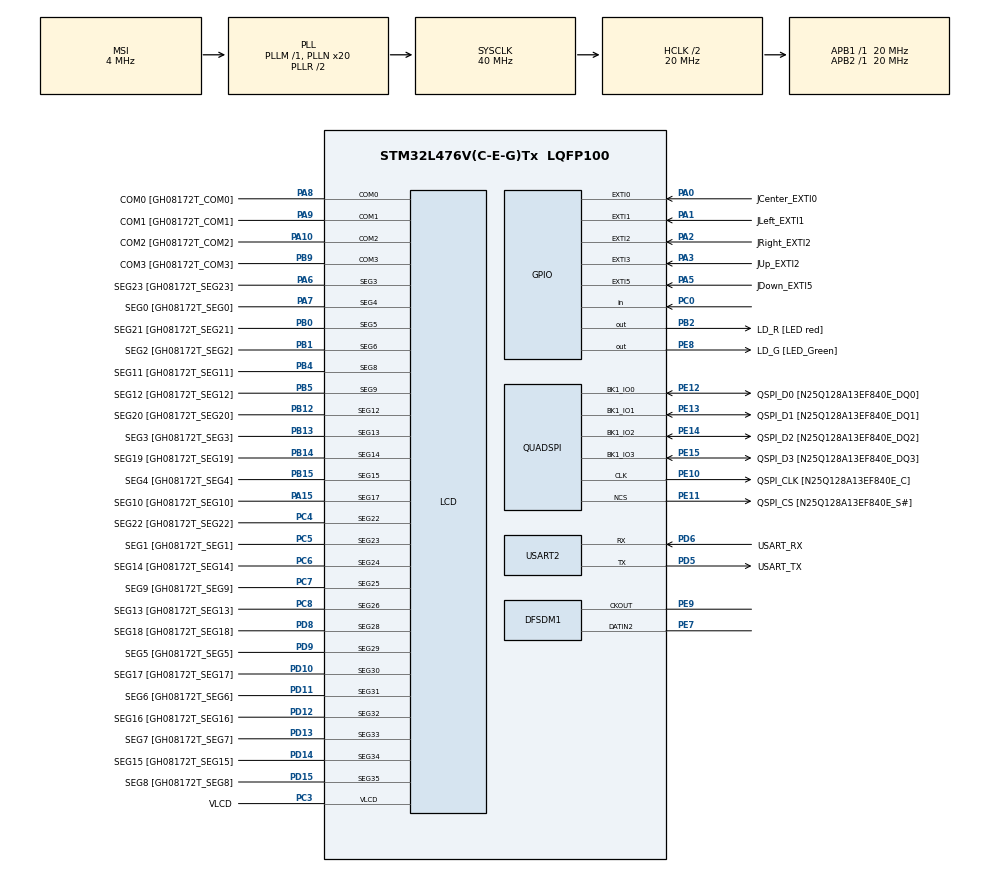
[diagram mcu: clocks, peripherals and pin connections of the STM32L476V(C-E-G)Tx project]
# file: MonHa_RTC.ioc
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DFSDM1.Divider=4
DFSDM1.DmaMode_reg_FIL0=ENABLE
DFSDM1.FastMode_reg_FIL0=ENABLE
DFSDM1.Filter_injChannel2_FIL0=DFSDM_CHANNEL_2
DFSDM1.Filter_regChannel_FIL0=DFSDM_CHANNEL_2
DFSDM1.Filter_regContinuousMode_FIL0=DFSDM_CONTINUOUS_CONV_ON
DFSDM1.Fosr_FIL0=64
DFSDM1.Oversampling_CH2=10
DFSDM1.RightBitShift_CH2=0x02
DFSDM1.ScanMode_inj_FIL0=ENABLE
DFSDM1.SincOrder_FIL0=DFSDM_FILTER_SINC3_ORDER
Dma.DFSDM1_FLT0.2.Direction=DMA_PERIPH_TO_MEMORY
Dma.DFSDM1_FLT0.2.Instance=DMA1_Channel4
Dma.DFSDM1_FLT0.2.MemDataAlignment=DMA_MDATAALIGN_WORD
Dma.DFSDM1_FLT0.2.MemInc=DMA_MINC_ENABLE
Dma.DFSDM1_FLT0.2.Mode=DMA_CIRCULAR
Dma.DFSDM1_FLT0.2.PeriphDataAlignment=DMA_PDATAALIGN_WORD
Dma.DFSDM1_FLT0.2.PeriphInc=DMA_PINC_DISABLE
Dma.DFSDM1_FLT0.2.Priority=DMA_PRIORITY_HIGH
Dma.Request0=USART2_RX
Dma.Request1=USART2_TX
Dma.Request2=DFSDM1_FLT0
Dma.USART2_RX.0.Direction=DMA_PERIPH_TO_MEMORY
Dma.USART2_RX.0.Instance=DMA1_Channel6
Dma.USART2_RX.0.MemDataAlignment=DMA_MDATAALIGN_BYTE
Dma.USART2_RX.0.MemInc=DMA_MINC_ENABLE
Dma.USART2_RX.0.Mode=DMA_NORMAL
Dma.USART2_RX.0.PeriphDataAlignment=DMA_PDATAALIGN_BYTE
Dma.USART2_RX.0.PeriphInc=DMA_PINC_DISABLE
Dma.USART2_RX.0.Priority=DMA_PRIORITY_LOW
Dma.USART2_TX.1.Direction=DMA_MEMORY_TO_PERIPH
Dma.USART2_TX.1.Instance=DMA1_Channel7
Dma.USART2_TX.1.MemDataAlignment=DMA_MDATAALIGN_BYTE
Dma.USART2_TX.1.MemInc=DMA_MINC_ENABLE
Dma.USART2_TX.1.Mode=DMA_NORMAL
Dma.USART2_TX.1.PeriphDataAlignment=DMA_PDATAALIGN_BYTE
Dma.USART2_TX.1.PeriphInc=DMA_PINC_DISABLE
Dma.USART2_TX.1.Priority=DMA_PRIORITY_LOW
Mcu.Family=STM32L4
Mcu.Name=STM32L476V(C-E-G)Tx
Mcu.Package=LQFP100
Mcu.UserConstants=PRESC,9999;PERIOD,1999
NVIC.DFSDM1_FLT0_IRQn=true\:0\:0\:false\:false\:true\:true\:true
NVIC.DMA1_Channel4_IRQn=true\:0\:0\:false\:false\:true\:false\:true
NVIC.DMA1_Channel6_IRQn=true\:0\:0\:false\:false\:true\:false\:true
NVIC.DMA1_Channel7_IRQn=true\:0\:0\:false\:false\:true\:false\:true
NVIC.EXTI0_IRQn=true\:0\:0\:false\:false\:true\:true\:true
NVIC.EXTI1_IRQn=true\:0\:0\:false\:false\:true\:true\:true
NVIC.EXTI2_IRQn=true\:0\:0\:false\:false\:true\:true\:true
NVIC.EXTI3_IRQn=true\:0\:0\:false\:false\:true\:true\:true
NVIC.EXTI9_5_IRQn=true\:0\:0\:false\:false\:true\:true\:true
NVIC.PriorityGroup=NVIC_PRIORITYGROUP_4
NVIC.TIM6_DAC_IRQn=true\:0\:0\:false\:false\:true\:true\:true
PA0.GPIO_Label=JCenter_EXTI0
PA0.GPIO_PuPd=GPIO_PULLDOWN
PA0.Signal=GPXTI0
PA1.GPIO_Label=JLeft_EXTI1
PA1.GPIO_PuPd=GPIO_PULLDOWN
PA1.Signal=GPXTI1
PA10.GPIO_Label=COM2 [GH08172T_COM2]
PA10.GPIO_Mode=GPIO_MODE_AF_PP
PA10.GPIO_PuPd=GPIO_NOPULL
PA10.GPIO_Speed=GPIO_SPEED_FREQ_LOW
PA10.Mode=1/4 Duty Cycle
PA10.Signal=LCD_COM2
PA15\ (JTDI).GPIO_Label=SEG10 [GH08172T_SEG10]
PA15\ (JTDI).GPIO_Mode=GPIO_MODE_AF_PP
PA15\ (JTDI).GPIO_PuPd=GPIO_NOPULL
PA15\ (JTDI).GPIO_Speed=GPIO_SPEED_FREQ_LOW
PA15\ (JTDI).Mode=SEG17
PA15\ (JTDI).Signal=LCD_SEG17
PA2.GPIO_Label=JRight_EXTI2
PA2.GPIO_PuPd=GPIO_PULLDOWN
PA2.Signal=GPXTI2
PA3.GPIO_Label=JUp_EXTI2
PA3.GPIO_PuPd=GPIO_PULLDOWN
PA3.Signal=GPXTI3
PA5.GPIO_Label=JDown_EXTI5
PA5.GPIO_PuPd=GPIO_PULLDOWN
PA5.Signal=GPXTI5
PA6.GPIO_Label=SEG23 [GH08172T_SEG23]
PA6.GPIO_Mode=GPIO_MODE_AF_PP
PA6.GPIO_PuPd=GPIO_NOPULL
PA6.GPIO_Speed=GPIO_SPEED_FREQ_LOW
PA6.Mode=SEG3
PA6.Signal=LCD_SEG3
PA7.GPIO_Label=SEG0 [GH08172T_SEG0]
PA7.GPIO_Mode=GPIO_MODE_AF_PP
PA7.GPIO_PuPd=GPIO_NOPULL
PA7.GPIO_Speed=GPIO_SPEED_FREQ_LOW
PA7.Mode=SEG4
PA7.Signal=LCD_SEG4
PA8.GPIO_Label=COM0 [GH08172T_COM0]
PA8.GPIO_Mode=GPIO_MODE_AF_PP
PA8.GPIO_PuPd=GPIO_NOPULL
PA8.GPIO_Speed=GPIO_SPEED_FREQ_LOW
PA8.Mode=1/4 Duty Cycle
PA8.Signal=LCD_COM0
PA9.GPIO_Label=COM1 [GH08172T_COM1]
PA9.GPIO_Mode=GPIO_MODE_AF_PP
PA9.GPIO_PuPd=GPIO_NOPULL
PA9.GPIO_Speed=GPIO_SPEED_FREQ_LOW
PA9.Mode=1/4 Duty Cycle
PA9.Signal=LCD_COM1
PB0.GPIO_Label=SEG21 [GH08172T_SEG21]
PB0.GPIO_Mode=GPIO_MODE_AF_PP
PB0.GPIO_PuPd=GPIO_NOPULL
PB0.GPIO_Speed=GPIO_SPEED_FREQ_LOW
PB0.Mode=SEG5
PB0.Signal=LCD_SEG5
PB1.GPIO_Label=SEG2 [GH08172T_SEG2]
PB1.GPIO_Mode=GPIO_MODE_AF_PP
PB1.GPIO_PuPd=GPIO_NOPULL
PB1.GPIO_Speed=GPIO_SPEED_FREQ_LOW
PB1.Mode=SEG6
PB1.Signal=LCD_SEG6
PB12.GPIO_Label=SEG20 [GH08172T_SEG20]
PB12.GPIO_Mode=GPIO_MODE_AF_PP
PB12.GPIO_PuPd=GPIO_NOPULL
PB12.GPIO_Speed=GPIO_SPEED_FREQ_LOW
PB12.Mode=SEG12
PB12.Signal=LCD_SEG12
PB13.GPIO_Label=SEG3 [GH08172T_SEG3]
PB13.GPIO_Mode=GPIO_MODE_AF_PP
PB13.GPIO_PuPd=GPIO_NOPULL
PB13.GPIO_Speed=GPIO_SPEED_FREQ_LOW
PB13.Mode=SEG13
PB13.Signal=LCD_SEG13
PB14.GPIO_Label=SEG19 [GH08172T_SEG19]
PB14.GPIO_Mode=GPIO_MODE_AF_PP
PB14.GPIO_PuPd=GPIO_NOPULL
PB14.GPIO_Speed=GPIO_SPEED_FREQ_LOW
PB14.Mode=SEG14
PB14.Signal=LCD_SEG14
PB15.GPIO_Label=SEG4 [GH08172T_SEG4]
PB15.GPIO_Mode=GPIO_MODE_AF_PP
PB15.GPIO_PuPd=GPIO_NOPULL
PB15.GPIO_Speed=GPIO_SPEED_FREQ_LOW
PB15.Mode=SEG15
PB15.Signal=LCD_SEG15
PB2.GPIO_Label=LD_R [LED red]
PB2.GPIO_ModeDefaultOutputPP=GPIO_MODE_OUTPUT_PP
PB2.GPIO_PuPd=GPIO_PULLUP
PB2.GPIO_Speed=GPIO_SPEED_FREQ_VERY_HIGH
PB2.Signal=GPIO_Output
PB4\ (NJTRST).GPIO_Label=SEG11 [GH08172T_SEG11]
PB4\ (NJTRST).GPIO_Mode=GPIO_MODE_AF_PP
PB4\ (NJTRST).GPIO_PuPd=GPIO_NOPULL
PB4\ (NJTRST).GPIO_Speed=GPIO_SPEED_FREQ_LOW
PB4\ (NJTRST).Mode=SEG8
PB4\ (NJTRST).Signal=LCD_SEG8
PB5.GPIO_Label=SEG12 [GH08172T_SEG12]
PB5.GPIO_Mode=GPIO_MODE_AF_PP
PB5.GPIO_PuPd=GPIO_NOPULL
PB5.GPIO_Speed=GPIO_SPEED_FREQ_LOW
PB5.Mode=SEG9
PB5.Signal=LCD_SEG9
PB9.GPIO_FM9=__NULL
PB9.GPIO_Label=COM3 [GH08172T_COM3]
PB9.GPIO_Mode=GPIO_MODE_AF_PP
PB9.GPIO_PuPd=GPIO_NOPULL
PB9.GPIO_Speed=GPIO_SPEED_FREQ_LOW
PB9.Mode=1/4 Duty Cycle
PB9.Signal=LCD_COM3
PC0.Signal=GPIO_Input
PC3.GPIO_Label=VLCD
PC3.GPIO_Mode=GPIO_MODE_AF_PP
PC3.GPIO_PuPd=GPIO_NOPULL
PC3.GPIO_Speed=GPIO_SPEED_FREQ_LOW
PC3.Mode=1/4 Duty Cycle
PC3.Signal=LCD_VLCD
PC4.GPIO_Label=SEG22 [GH08172T_SEG22]
PC4.GPIO_Mode=GPIO_MODE_AF_PP
PC4.GPIO_PuPd=GPIO_NOPULL
PC4.GPIO_Speed=GPIO_SPEED_FREQ_LOW
PC4.Mode=SEG22
PC4.Signal=LCD_SEG22
PC5.GPIO_Label=SEG1 [GH08172T_SEG1]
PC5.GPIO_Mode=GPIO_MODE_AF_PP
PC5.GPIO_PuPd=GPIO_NOPULL
PC5.GPIO_Speed=GPIO_SPEED_FREQ_LOW
PC5.Mode=SEG23
PC5.Signal=LCD_SEG23
PC6.GPIO_Label=SEG14 [GH08172T_SEG14]
PC6.GPIO_Mode=GPIO_MODE_AF_PP
PC6.GPIO_PuPd=GPIO_NOPULL
PC6.GPIO_Speed=GPIO_SPEED_FREQ_LOW
PC6.Mode=SEG24
PC6.Signal=LCD_SEG24
PC7.GPIO_Label=SEG9 [GH08172T_SEG9]
PC7.GPIO_Mode=GPIO_MODE_AF_PP
PC7.GPIO_PuPd=GPIO_NOPULL
PC7.GPIO_Speed=GPIO_SPEED_FREQ_LOW
PC7.Mode=SEG25
PC7.Signal=LCD_SEG25
PC8.GPIO_Label=SEG13 [GH08172T_SEG13]
PC8.GPIO_Mode=GPIO_MODE_AF_PP
PC8.GPIO_PuPd=GPIO_NOPULL
PC8.GPIO_Speed=GPIO_SPEED_FREQ_LOW
PC8.Mode=SEG26
PC8.Signal=LCD_SEG26
PD10.GPIO_Label=SEG17 [GH08172T_SEG17]
PD10.GPIO_Mode=GPIO_MODE_AF_PP
PD10.GPIO_PuPd=GPIO_NOPULL
PD10.GPIO_Speed=GPIO_SPEED_FREQ_LOW
PD10.Mode=SEG30
PD10.Signal=LCD_SEG30
PD11.GPIO_Label=SEG6 [GH08172T_SEG6]
PD11.GPIO_Mode=GPIO_MODE_AF_PP
PD11.GPIO_PuPd=GPIO_NOPULL
PD11.GPIO_Speed=GPIO_SPEED_FREQ_LOW
PD11.Mode=SEG31
PD11.Signal=LCD_SEG31
PD12.GPIO_Label=SEG16 [GH08172T_SEG16]
PD12.GPIO_Mode=GPIO_MODE_AF_PP
PD12.GPIO_PuPd=GPIO_NOPULL
PD12.GPIO_Speed=GPIO_SPEED_FREQ_LOW
PD12.Mode=SEG32
PD12.Signal=LCD_SEG32
PD13.GPIO_Label=SEG7 [GH08172T_SEG7]
PD13.GPIO_Mode=GPIO_MODE_AF_PP
PD13.GPIO_PuPd=GPIO_NOPULL
PD13.GPIO_Speed=GPIO_SPEED_FREQ_LOW
PD13.Mode=SEG33
PD13.Signal=LCD_SEG33
PD14.GPIO_Label=SEG15 [GH08172T_SEG15]
PD14.GPIO_Mode=GPIO_MODE_AF_PP
PD14.GPIO_PuPd=GPIO_NOPULL
PD14.GPIO_Speed=GPIO_SPEED_FREQ_LOW
PD14.Mode=SEG34
PD14.Signal=LCD_SEG34
PD15.GPIO_Label=SEG8 [GH08172T_SEG8]
PD15.GPIO_Mode=GPIO_MODE_AF_PP
PD15.GPIO_PuPd=GPIO_NOPULL
PD15.GPIO_Speed=GPIO_SPEED_FREQ_LOW
PD15.Mode=SEG35
PD15.Signal=LCD_SEG35
PD5.GPIO_Label=USART_TX
PD5.GPIO_Mode=GPIO_MODE_AF_PP
PD5.GPIO_PuPd=GPIO_PULLUP
PD5.GPIO_Speed=GPIO_SPEED_FREQ_VERY_HIGH
PD5.Mode=Asynchronous
PD5.Signal=USART2_TX
PD6.GPIO_Label=USART_RX
PD6.GPIO_Mode=GPIO_MODE_AF_PP
PD6.GPIO_PuPd=GPIO_PULLUP
PD6.GPIO_Speed=GPIO_SPEED_FREQ_VERY_HIGH
PD6.Mode=Asynchronous
PD6.Signal=USART2_RX
PD8.GPIO_Label=SEG18 [GH08172T_SEG18]
PD8.GPIO_Mode=GPIO_MODE_AF_PP
PD8.GPIO_PuPd=GPIO_NOPULL
PD8.GPIO_Speed=GPIO_SPEED_FREQ_LOW
PD8.Mode=SEG28
PD8.Signal=LCD_SEG28
PD9.GPIO_Label=SEG5 [GH08172T_SEG5]
PD9.GPIO_Mode=GPIO_MODE_AF_PP
PD9.GPIO_PuPd=GPIO_NOPULL
PD9.GPIO_Speed=GPIO_SPEED_FREQ_LOW
PD9.Mode=SEG29
PD9.Signal=LCD_SEG29
PE10.GPIO_Label=QSPI_CLK [N25Q128A13EF840E_C]
PE10.GPIO_Mode=GPIO_MODE_AF_PP
PE10.GPIO_PuPd=GPIO_NOPULL
PE10.GPIO_Speed=GPIO_SPEED_FREQ_VERY_HIGH
PE10.Mode=Single Bank
PE10.Signal=QUADSPI_CLK
PE11.GPIO_Label=QSPI_CS [N25Q128A13EF840E_S\#]
PE11.GPIO_Mode=GPIO_MODE_AF_PP
PE11.GPIO_PuPd=GPIO_NOPULL
PE11.GPIO_Speed=GPIO_SPEED_FREQ_VERY_HIGH
PE11.Mode=Single Bank
PE11.Signal=QUADSPI_NCS
PE12.GPIO_Label=QSPI_D0 [N25Q128A13EF840E_DQ0]
PE12.GPIO_Mode=GPIO_MODE_AF_PP
PE12.GPIO_PuPd=GPIO_NOPULL
PE12.GPIO_Speed=GPIO_SPEED_FREQ_VERY_HIGH
PE12.Mode=Single Bank
PE12.Signal=QUADSPI_BK1_IO0
PE13.GPIO_Label=QSPI_D1 [N25Q128A13EF840E_DQ1]
PE13.GPIO_Mode=GPIO_MODE_AF_PP
PE13.GPIO_PuPd=GPIO_NOPULL
PE13.GPIO_Speed=GPIO_SPEED_FREQ_VERY_HIGH
PE13.Mode=Single Bank
PE13.Signal=QUADSPI_BK1_IO1
PE14.GPIO_Label=QSPI_D2 [N25Q128A13EF840E_DQ2]
PE14.GPIO_Mode=GPIO_MODE_AF_PP
PE14.GPIO_PuPd=GPIO_NOPULL
PE14.GPIO_Speed=GPIO_SPEED_FREQ_VERY_HIGH
PE14.Mode=Single Bank
PE14.Signal=QUADSPI_BK1_IO2
PE15.GPIO_Label=QSPI_D3 [N25Q128A13EF840E_DQ3]
PE15.GPIO_Mode=GPIO_MODE_AF_PP
PE15.GPIO_PuPd=GPIO_NOPULL
PE15.GPIO_Speed=GPIO_SPEED_FREQ_VERY_HIGH
PE15.Mode=Single Bank
PE15.Signal=QUADSPI_BK1_IO3
PE7.GPIO_PuPd=GPIO_PULLDOWN
PE7.GPIO_Speed=GPIO_SPEED_FREQ_VERY_HIGH
PE7.Signal=S_DATAIN2DFSDM1
PE8.GPIO_Label=LD_G [LED_Green]
PE8.GPIO_ModeDefaultOutputPP=GPIO_MODE_OUTPUT_PP
PE8.GPIO_PuPd=GPIO_PULLUP
PE8.GPIO_Speed=GPIO_SPEED_FREQ_VERY_HIGH
PE8.Signal=GPIO_Output
PE9.GPIO_PuPd=GPIO_PULLDOWN
PE9.GPIO_Speed=GPIO_SPEED_FREQ_VERY_HIGH
PE9.Signal=S_CKOUTDFSDM1
ProjectManager.HeapSize=0x200
ProjectManager.StackSize=0x400
ProjectManager.TargetToolchain=TrueSTUDIO
RCC.ADCFreq_Value=144000000
RCC.AHBCLKDivider=RCC_SYSCLK_DIV2
RCC.AHBFreq_Value=20000000
RCC.APB1Freq_Value=20000000
RCC.APB1TimFreq_Value=20000000
RCC.APB2Freq_Value=20000000
RCC.APB2TimFreq_Value=20000000
RCC.CortexFreq_Value=20000000
RCC.HCLKFreq_Value=20000000
RCC.HSE_VALUE=8000000
RCC.HSI_VALUE=16000000
RCC.LSE_VALUE=32768
RCC.MSI_VALUE=4000000
RCC.PLLN=20
RCC.PLLSAI1N=72
RCC.PREFETCH_ENABLE=1
RCC.SYSCLKFreq_VALUE=40000000
RCC.SYSCLKSource=RCC_SYSCLKSOURCE_PLLCLK
RCC.USBFreq_Value=144000000
RCC.VCOOutputFreq_Value=80000000
RTC.Date=23
RTC.Format=RTC_FORMAT_BIN
RTC.Hours=23
RTC.Minutes=59
RTC.Month=RTC_MONTH_APRIL
RTC.Seconds=50
RTC.WeekDay=RTC_WEEKDAY_WEDNESDAY
RTC.Year=19
SH.S_CKOUTDFSDM1.0=DFSDM1_CKOUT,PDM_SPI_input_from_ch2_and_internal_clock
SH.S_DATAIN2DFSDM1.0=DFSDM1_DATIN2,PDM_SPI_input_from_ch2_and_internal_clock
TIM6.Period=PERIOD
TIM6.Prescaler=PRESC
USART2.VirtualMode-Asynchronous=VM_ASYNC
VP_RTC_VS_RTC_Activate.Mode=RTC_Enabled
VP_RTC_VS_RTC_Calendar.Mode=RTC_Calendar
VP_TIM6_VS_ClockSourceINT.Mode=Enable_Timer
board=32L476GDISCOVERY

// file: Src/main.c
/* USER CODE BEGIN Header */
/**
 ******************************************************************************
 * @file           : main.c
 * @brief          : Main program body
 ******************************************************************************
 * @attention
 *
 * <h2><center>&copy; Copyright (c) 2019 STMicroelectronics.
 * All rights reserved.</center></h2>
 *
 * This software component is licensed by ST under BSD 3-Clause license,
 * the "License"; You may not use this file except in compliance with the
 * License. You may obtain a copy of the License at:
 *                        opensource.org/licenses/BSD-3-Clause
 *
 ******************************************************************************
 */
/* USER CODE END Header */

#include "main.h"
#include "dfsdm.h"
#include "dma.h"
#include "lcd.h"
#include "quadspi.h"
#include "rtc.h"
#include "tim.h"
#include "usart.h"
#include "gpio.h"

/* USER CODE BEGIN Includes */
#include "stdio.h"
#include "stm32l476g_discovery_glass_lcd.h"
#include "stm32l476g_discovery_qspi.h"
#include "menu.h"
/* USER CODE END Includes */

/* USER CODE BEGIN PD */
#define N_DANYCH 3
/* USER CODE END PD */

/* USER CODE BEGIN PM */
#define SaturaLH(N, L, H) (((N)<(L))?(L):(((N)>(H))?(H):(N)))
/* USER CODE END PM */

/* USER CODE BEGIN PV */
RTC_DateTypeDef RTC_Calendar;
RTC_TimeTypeDef RTC_Time;
int32_t RecBuff[2048];

double const filtr[64]={0.00234434917719461,0.00253607247271912,0.00285229122268397,0.00329035375942028,0.00384640000611839,0.00451539722262479,0.00529118751439567,0.00616654664968141,0.00713325361488786,0.00818217022853550,0.00930333003144620,0.0104860355757936,0.0117189631494397,0.0129902738954427,0.0142877302205574,0.0155988163316447,0.0169108616957447,0.0182111661885955,0.0194871256779324,0.0207263567821822,0.0219168195522430,0.0230469368438535,0.0241057091804112,0.0250828239506856,0.0259687578422278,0.0267548714788497,0.0274334953086374,0.0279980058767921,0.0284428917142534,0.0287638081775825,0.0289576206868904,0.0290224359255544,0.0289576206868904,0.0287638081775825,0.0284428917142534,0.0279980058767921,0.0274334953086374,0.0267548714788497,0.0259687578422278,0.0250828239506856,0.0241057091804112,0.0230469368438535,0.0219168195522430,0.0207263567821822,0.0194871256779324,0.0182111661885955,0.0169108616957447,0.0155988163316447,0.0142877302205574,0.0129902738954427,0.0117189631494397,0.0104860355757936,0.00930333003144620,0.00818217022853550,0.00713325361488786,0.00616654664968141,0.00529118751439567,0.00451539722262479,0.00384640000611839,0.00329035375942028,0.00285229122268397,0.00253607247271912,0.00234434917719461,0.00227854094737764};
double filtrowany[2048];

volatile int JCenter_flag = 0;
volatile int JUp_flag = 0;
volatile int JRight_flag = 0;
volatile int JLeft_flag = 0;
volatile int JDown_flag = 0;

int32_t ProgDzwieku = 600000;
int OkresProbkowania = 3; // s max 3600*okres_probki
int okres_probki=1;// co ile sekund wykona podstawowy pomiar
int32_t curtime=0,timval=0;
double statystyka[3600];
_Bool flagaprobek=0;
/* USER CODE END PV */

void SystemClock_Config(void);
/* USER CODE BEGIN PFP */
void HAL_GPIO_EXTI_Callback(uint16_t GPIO_Pin);
int _write(int file, char *ptr, int len);

/*-----------------  FUNKCJE CALLBACK MENU ---------------------------*/
// Prototypy spisane w main.h

/* USER CODE END PFP */

int main(void)
{

  /* MCU Configuration--------------------------------------------------------*/

  /* Reset of all peripherals, Initializes the Flash interface and the Systick. */
  HAL_Init();

  /* USER CODE BEGIN Init */
  BSP_LCD_GLASS_Init();
  /* USER CODE END Init */

  /* Configure the system clock */
  SystemClock_Config();

  /* Initialize all configured peripherals */
  MX_GPIO_Init();
  MX_DMA_Init();
  MX_LCD_Init();
  MX_QUADSPI_Init();
  MX_USART2_UART_Init();
  MX_RTC_Init();
  MX_DFSDM1_Init();
  MX_TIM6_Init();
  /* USER CODE BEGIN 2 */

  HAL_TIM_Base_Start_IT(&htim6);

	RTC_Calendar.Year = 19;
	RTC_Calendar.Month = 06;
	RTC_Calendar.Date = 12;

	HAL_RTC_SetDate(&hrtc, &RTC_Calendar, RTC_FORMAT_BIN);

	HAL_RTC_GetTime(&hrtc, &RTC_Time, RTC_FORMAT_BIN);

	RTC_Time.Hours = 0;
	RTC_Time.Minutes = 0;
	RTC_Time.Seconds = 0;

	HAL_RTC_SetTime(&hrtc, &RTC_Time, RTC_FORMAT_BIN);

	/* Start DFSDM conversions */
	if (HAL_OK!= HAL_DFSDM_FilterRegularStart_DMA(&hdfsdm1_filter0, RecBuff,2048)) {
		Error_Handler();
	}
	if(BSP_QSPI_Init() != QSPI_OK){
		Error_Handler();
	}
	/* Start DFSDM conversions */

  /* USER CODE END 2 */

  /* Infinite loop */
  /* USER CODE BEGIN WHILE */
  Menu_Odswiez();

	while (1) {
    /* USER CODE END WHILE */

    /* USER CODE BEGIN 3 */
		  if(JRight_flag == 1){
			 Menu_Nast();
			 JRight_flag = 0;
		  }
		  if(JLeft_flag == 1){
			 Menu_Poprz();
			 JLeft_flag  = 0;
		  }
		  if(JDown_flag == 1){
			  Menu_Dziecko();
			 JDown_flag  = 0;
		  }
		  if(JUp_flag == 1){
		  		 // Przerwanie uzywane do wyjscia z dzialajacej funkcji menu
			  	 // lub przejscia do rodzica pozycji menu
			  	 Menu_Rodzic();
		  		 JUp_flag  = 0;
		  	  }
		  if(JCenter_flag == 1){
			 Menu_Funkcja();
			 JCenter_flag  = 0;
		  }

	}//koniec while'a
	if(BSP_QSPI_DeInit() != QSPI_OK){
		Error_Handler();
	}
	BSP_LCD_GLASS_DeInit();
  /* USER CODE END 3 */
}

void SystemClock_Config(void)
{
  RCC_OscInitTypeDef RCC_OscInitStruct = {0};
  RCC_ClkInitTypeDef RCC_ClkInitStruct = {0};
  RCC_PeriphCLKInitTypeDef PeriphClkInit = {0};

  /** Initializes the CPU, AHB and APB busses clocks
  */
  RCC_OscInitStruct.OscillatorType = RCC_OSCILLATORTYPE_LSI|RCC_OSCILLATORTYPE_MSI;
  RCC_OscInitStruct.LSIState = RCC_LSI_ON;
  RCC_OscInitStruct.MSIState = RCC_MSI_ON;
  RCC_OscInitStruct.MSICalibrationValue = 0;
  RCC_OscInitStruct.MSIClockRange = RCC_MSIRANGE_6;
  RCC_OscInitStruct.PLL.PLLState = RCC_PLL_ON;
  RCC_OscInitStruct.PLL.PLLSource = RCC_PLLSOURCE_MSI;
  RCC_OscInitStruct.PLL.PLLM = 1;
  RCC_OscInitStruct.PLL.PLLN = 20;
  RCC_OscInitStruct.PLL.PLLP = RCC_PLLP_DIV7;
  RCC_OscInitStruct.PLL.PLLQ = RCC_PLLQ_DIV2;
  RCC_OscInitStruct.PLL.PLLR = RCC_PLLR_DIV2;
  if (HAL_RCC_OscConfig(&RCC_OscInitStruct) != HAL_OK)
  {
    Error_Handler();
  }
  /** Initializes the CPU, AHB and APB busses clocks
  */
  RCC_ClkInitStruct.ClockType = RCC_CLOCKTYPE_HCLK|RCC_CLOCKTYPE_SYSCLK
                              |RCC_CLOCKTYPE_PCLK1|RCC_CLOCKTYPE_PCLK2;
  RCC_ClkInitStruct.SYSCLKSource = RCC_SYSCLKSOURCE_PLLCLK;
  RCC_ClkInitStruct.AHBCLKDivider = RCC_SYSCLK_DIV2;
  RCC_ClkInitStruct.APB1CLKDivider = RCC_HCLK_DIV1;
  RCC_ClkInitStruct.APB2CLKDivider = RCC_HCLK_DIV1;

  if (HAL_RCC_ClockConfig(&RCC_ClkInitStruct, FLASH_LATENCY_1) != HAL_OK)
  {
    Error_Handler();
  }
  PeriphClkInit.PeriphClockSelection = RCC_PERIPHCLK_RTC|RCC_PERIPHCLK_USART2
                              |RCC_PERIPHCLK_DFSDM1;
  PeriphClkInit.Usart2ClockSelection = RCC_USART2CLKSOURCE_PCLK1;
  PeriphClkInit.Dfsdm1ClockSelection = RCC_DFSDM1CLKSOURCE_PCLK;
  PeriphClkInit.RTCClockSelection = RCC_RTCCLKSOURCE_LSI;
  if (HAL_RCCEx_PeriphCLKConfig(&PeriphClkInit) != HAL_OK)
  {
    Error_Handler();
  }
  /** Configure the main internal regulator output voltage
  */
  if (HAL_PWREx_ControlVoltageScaling(PWR_REGULATOR_VOLTAGE_SCALE1) != HAL_OK)
  {
    Error_Handler();
  }
}

/* USER CODE BEGIN 4 */

void HAL_GPIO_EXTI_Callback(uint16_t GPIO_Pin)
{
	if(GPIO_Pin == JCenter_EXTI0_Pin){
		JCenter_flag = 1;
	}
	if(GPIO_Pin == JLeft_EXTI1_Pin){
		JLeft_flag = 1;
	}
	if(GPIO_Pin == JRight_EXTI2_Pin){
		JRight_flag = 1;
	}
	if(GPIO_Pin == JUp_EXTI2_Pin){
		JUp_flag = 1;
	}
	if(GPIO_Pin == JDown_EXTI5_Pin){
		JDown_flag = 1;
	}
}

int _write(int file, char *ptr, int len){
	HAL_UART_Transmit(&huart2, ptr, len, 50);
	return len;
}

/*-----------------  FUNKCJE CALLBACK MENU ---------------------------*/

void Prog_callback(void){
	// ZMIENNE MIKROFONU
	//double const filtr[64]={0.00234434917719461,0.00253607247271912,0.00285229122268397,0.00329035375942028,0.00384640000611839,0.00451539722262479,0.00529118751439567,0.00616654664968141,0.00713325361488786,0.00818217022853550,0.00930333003144620,0.0104860355757936,0.0117189631494397,0.0129902738954427,0.0142877302205574,0.0155988163316447,0.0169108616957447,0.0182111661885955,0.0194871256779324,0.0207263567821822,0.0219168195522430,0.0230469368438535,0.0241057091804112,0.0250828239506856,0.0259687578422278,0.0267548714788497,0.0274334953086374,0.0279980058767921,0.0284428917142534,0.0287638081775825,0.0289576206868904,0.0290224359255544,0.0289576206868904,0.0287638081775825,0.0284428917142534,0.0279980058767921,0.0274334953086374,0.0267548714788497,0.0259687578422278,0.0250828239506856,0.0241057091804112,0.0230469368438535,0.0219168195522430,0.0207263567821822,0.0194871256779324,0.0182111661885955,0.0169108616957447,0.0155988163316447,0.0142877302205574,0.0129902738954427,0.0117189631494397,0.0104860355757936,0.00930333003144620,0.00818217022853550,0.00713325361488786,0.00616654664968141,0.00529118751439567,0.00451539722262479,0.00384640000611839,0.00329035375942028,0.00285229122268397,0.00253607247271912,0.00234434917719461,0.00227854094737764};
	int64_t	max;
	//double filtrowany[2048];

	// ZMIENNE FLASH
	// ZAPIS
	uint8_t DaneDoZapisu[N_DANYCH] = {};		// Dane w formacie szesciu liczb uint
	const uint8_t *PtrDaneZapis = &DaneDoZapisu;		// Wskaznik na pierwszy elem. tablicy
	uint32_t AdresKomorki = 0x00; 				// Adres gdzie zacznie sie zapis
	uint32_t RozmiarPaczkiDanych = N_DANYCH * sizeof(uint8_t);
	// ODCZYT
	uint8_t Odczytano[N_DANYCH];		// Tablica do ktorej zapisze sie odczytane dane
	const uint8_t *PtrOdczytano = &Odczytano;	// Wskaznik na pierwszy elem. tablicy odczytu
	// Block ma 4 kB -> przyjmuje 499 logow(data zajmie 1 B)
	if(BSP_QSPI_Erase_Block(AdresKomorki) != QSPI_OK){	// Wyczyszczenie bloku, z pierwszym bajtem
		Error_Handler();
	}

	HAL_RTC_GetDate(&hrtc, &RTC_Calendar, RTC_FORMAT_BIN); //pobranie do RTC_Calendar daty
	printf("Data rtc:%d.%d.20%d\r\n", RTC_Calendar.Date, RTC_Calendar.Month, RTC_Calendar.Year);
	DaneDoZapisu[0] = RTC_Calendar.Date;
	DaneDoZapisu[1] = RTC_Calendar.Month;
	DaneDoZapisu[2] = RTC_Calendar.Year;

	if (BSP_QSPI_Write(PtrDaneZapis, AdresKomorki, RozmiarPaczkiDanych) != QSPI_OK){
		printf("Blad zapisu!\r\n");
	}
	AdresKomorki += RozmiarPaczkiDanych;

	BSP_LCD_GLASS_DisplayString("LOGUJE");
	while(!JUp_flag){
		//filtr Fir srodkowo przepustowy (300-300 000)hz
		for (int i3 = 0; i3 < 2048; i3++){
			filtrowany[i3] = 0;//zerowanie po poprzedniej filtracji
			 for (int i4 = 0; i4 < 64; i4++){
				if (i3>=i4){
					filtrowany[i3]=filtrowany[i3]+(  ( (double)RecBuff[i3-i4] )  *filtr[i4]);
				}
			}
		}
		//szukanie maximum
		max = 0;
		for (int var = 0; var < 1600; ++var) {
			if (filtrowany[var]>max){
				max = filtrowany[var];
			}
		}
		//trigger
		if (max >= ProgDzwieku){
			HAL_GPIO_TogglePin(LD_R_GPIO_Port, LD_R_Pin);
			HAL_RTC_GetTime(&hrtc, &RTC_Time, RTC_FORMAT_BIN); //zaktualizowanie czasu RTC_Time
			printf(" Czas rtc: %dh\t%dm\t%ds \r\n", RTC_Time.Hours, RTC_Time.Minutes, RTC_Time.Seconds);

			DaneDoZapisu[0] = RTC_Time.Hours;
			DaneDoZapisu[1] = RTC_Time.Minutes;
			DaneDoZapisu[2] = RTC_Time.Seconds;
			if (BSP_QSPI_Write(PtrDaneZapis, AdresKomorki, RozmiarPaczkiDanych) != QSPI_OK){
				printf("Blad zapisu!\r\n");
			}
			AdresKomorki += RozmiarPaczkiDanych;
		}
	} // Koniec logowania przekraczania progu
	BSP_LCD_GLASS_DisplayString("KONIEC");
	HAL_Delay(500);
	HAL_GPIO_WritePin(LD_R_GPIO_Port, LD_R_Pin, GPIO_PIN_RESET);

	// Odczytywanie logow

	uint8_t buffor[6];
	if (BSP_QSPI_Read(PtrOdczytano, 0x00, RozmiarPaczkiDanych) == QSPI_OK){
		printf("Data:: %d.%d.%d \r\n", Odczytano[0], Odczytano[1], Odczytano[2]);
		sprintf(buffor, "DATA");
		BSP_LCD_GLASS_DisplayString(buffor);
		HAL_Delay(1000);
		sprintf(buffor, "%d0%d%d", Odczytano[0], Odczytano[1], Odczytano[2]);
		BSP_LCD_GLASS_DisplayString(buffor);
		HAL_Delay(1000);
	} else {
		printf("Blad odczytu!\r\n");
	}
	for(uint32_t i = 0x03; i < AdresKomorki; i+= RozmiarPaczkiDanych){
		sprintf(buffor, "LOG %d", i/3);
		BSP_LCD_GLASS_DisplayString(buffor);
		HAL_Delay(500);
		if (BSP_QSPI_Read(PtrOdczytano, i, RozmiarPaczkiDanych) == QSPI_OK){
			printf("Log %d: %dh\t%dm\t%ds \r\n", i/3, Odczytano[0], Odczytano[1], Odczytano[2]);

		//zapewnienie formatu hhmmss

			if (Odczytano[0]<10){
//jednoznakowe godziny
				if (Odczytano[1]<10){
	//jednoznakowe minuty
					if (Odczytano[2]<10){
		//jednoznakowe sekundy
						sprintf(buffor, "0%d0%d0%d", Odczytano[0], Odczytano[1], Odczytano[2]);
					}else{
		//dwuznakowe sekundy
						sprintf(buffor, "0%d0%d%d", Odczytano[0], Odczytano[1], Odczytano[2]);
					}

				}else{
	//dwuznakowe minuty
					if (Odczytano[2]<10){
		//jednoznakowe sekundy
						sprintf(buffor, "0%d%d0%d", Odczytano[0], Odczytano[1], Odczytano[2]);
					}else{
		//dwuznakowe sekundy
						sprintf(buffor, "0%d%d%d", Odczytano[0], Odczytano[1], Odczytano[2]);
					}

				}
			}else{
//dwuznakowe godziny
				if (Odczytano[1]<10){
	//jednoznakowe minuty

					if (Odczytano[2]<10){
		//jednoznakowe sekundy
						sprintf(buffor, "%d0%d0%d", Odczytano[0], Odczytano[1], Odczytano[2]);
					}else{
		//dwuznakowe  sekundy
						sprintf(buffor, "%d0%d%d", Odczytano[0], Odczytano[1], Odczytano[2]);
					}

				}else{
	//dwuznakowe minuty

					if (Odczytano[2]<10){
		//jednoznakowe sekundy
						sprintf(buffor, "%d%d0%d", Odczytano[0], Odczytano[1], Odczytano[2]);
					}else{
		//dwuznakowe sekundy
						sprintf(buffor, "%d%d%d", Odczytano[0], Odczytano[1], Odczytano[2]);
					}
				}
			}
			//alternatywa do wyœwietlania bez zapewnienia formatu hhmmss
			//sprintf(buffor, "%d%d%d", Odczytano[0], Odczytano[1], Odczytano[2]);
			//koniec wyœwietlania pomiarów

			BSP_LCD_GLASS_DisplayString(buffor);
			HAL_Delay(1000);
		} else {
			printf("Blad odczytu!\r\n");
			BSP_LCD_GLASS_DisplayString("BLAD");
		}
	}
	// DEINIT
}
void HAL_TIM_PeriodElapsedCallback(TIM_HandleTypeDef* htim){
if (htim==&htim6 && flagaprobek==1){

	//timval=timval+1;
	HAL_GPIO_TogglePin(LD_G_GPIO_Port,LD_G_Pin);
	}
}
void Okres_callback(void){
	flagaprobek=1;
	printf("Rozpoczynam okresowe zbieranie probek\r\n");

	// ZMIENNE MIKROFONU
	uint32_t srednia = 0;
	double AVERAGE = 0;
	uint32_t licznik=0,licznik2=0,lasttime=0,temp;
	timval=0;
	// ZMIENNE FLASH
	// ZAPIS
	uint32_t DaneDoZapisu;
	const uint32_t *PtrDaneZapis = &DaneDoZapisu;		// Wskaznik na pierwszy elem. tablicy
	uint32_t AdresKomorki = 0x1000; 				// Adres gdzie zacznie sie zapis; zacznij od bloku wyzej niz Tryb Progu
	uint32_t RozmiarWartosciSredniej = sizeof(uint32_t);
	// ODCZYT
	uint32_t Odczytano;		// Tablica do ktorej zapisze sie odczytane dane
	const uint32_t *PtrOdczytano = &Odczytano;	// Wskaznik na pierwszy elem. tablicy odczytu
	// Block ma 4 kB
	if(BSP_QSPI_Erase_Block(AdresKomorki) != QSPI_OK){	// Wyczyszczenie bloku, z pierwszym bajtem
		Error_Handler();
	}

	BSP_LCD_GLASS_DisplayString("LOGUJE");
	while(!JUp_flag){
		HAL_RTC_GetTime(&hrtc, &RTC_Time, RTC_FORMAT_BIN); //zaktualizowanie czasu RTC_Time
		HAL_Delay(100);

			timval=(((RTC_Time.Hours)*60 + RTC_Time.Minutes *60)+ RTC_Time.Seconds);

		if (OkresProbkowania<=timval-curtime){
		//if (OkresProbkowania<=timval) {
			curtime=timval;
			//timval=0;

			AVERAGE=(double)0;
			for (int var = 0; var < licznik; ++var) {
				AVERAGE+=statystyka[var];
			}
			AVERAGE/=licznik;//œrednia z pomiarów w danym okresie

			//kod zapisuj¹cy do pamiêci
			srednia = (uint32_t) AVERAGE;
			// audio mambo jumbo
			DaneDoZapisu = srednia;
			printf(" Zapisuje wartosc : %d \r\n", DaneDoZapisu);
			if (BSP_QSPI_Write(PtrDaneZapis, AdresKomorki, RozmiarWartosciSredniej) != QSPI_OK){
			printf("Blad zapisu!\r\n");
			}
			AdresKomorki += RozmiarWartosciSredniej;
			licznik=0;
			HAL_GPIO_TogglePin(LD_R_GPIO_Port, LD_R_Pin);

			//znacznik
		}else{
			if (timval>=(lasttime+okres_probki)){
				lasttime=timval;//zapisanie kiedy odby³ siê ostatni pomiar
				//kod pridukuj¹cy pomiary
				HAL_GPIO_TogglePin(LD_R_GPIO_Port,LD_R_Pin);

				// zbieranie pomiarow i filtracja
				for (int i3 = 0; i3 < 2048; i3++){
					filtrowany[i3] = 0;		//zerowanie po poprzedniej filtracji
					 for (int i4 = 0; i4 < 64; i4++){
						if (i3>=i4){
							filtrowany[i3]=filtrowany[i3]+(  ( (double)RecBuff[i3-i4] )  *filtr[i4]);
						}
					}
				}
				//statystyka.
				AVERAGE = 0;
				for (int var = 0; var < 1600; ++var) {
						AVERAGE += filtrowany[var];
					}
				AVERAGE/=1600;
				statystyka[licznik++]=AVERAGE;
			}
		}
	} // Koniec logowania sredniej z okresu

	BSP_LCD_GLASS_DisplayString("KONIEC");
	HAL_Delay(500);
	HAL_GPIO_WritePin(LD_R_GPIO_Port, LD_R_Pin, GPIO_PIN_RESET);

	// Odczytywanie logow
	uint8_t buffor[6];
	int k = 0; // zmienna pomocnicza, do wyswietlania numeru logu
	for(uint32_t i = 0x1000; i < AdresKomorki; i+= RozmiarWartosciSredniej){
		k++;
		sprintf(buffor, "LOG %d", k);
		BSP_LCD_GLASS_DisplayString(buffor);
		HAL_Delay(500);
		if (BSP_QSPI_Read(PtrOdczytano, i, RozmiarWartosciSredniej) == QSPI_OK){
			temp=(uint32_t)Odczytano;
			licznik2=0;
			while(temp>10000){temp/=10; licznik2++;}
			printf(" Srednia wynosi: %d \r\n", *PtrOdczytano);
			sprintf(buffor, "%dE%d", temp,licznik2);
			BSP_LCD_GLASS_DisplayString(buffor);
			HAL_Delay(1000);
		} else {
			printf("Blad odczytu!\r\n");
			BSP_LCD_GLASS_DisplayString("BLAD");
		}
	}
	// DEINIT
	flagaprobek=0;
	printf("Koncze zbieranie probek\r\n");
}

void Wyswietl_Prog_callback(void){
	uint8_t* WartoscProgu[10]={};
	sprintf(WartoscProgu, "%d", ProgDzwieku);
	BSP_LCD_GLASS_DisplayString(WartoscProgu);
	HAL_Delay(1000);
}

void Wyswietl_Okres_callback(void){
	uint8_t* WartoscOkresu[10]={};
	sprintf(WartoscOkresu, "%d", OkresProbkowania);
	BSP_LCD_GLASS_DisplayString(WartoscOkresu);
	HAL_Delay(1000);
}
/*-----------------  FUNKCJE CALLBACK MENU ---------------------------*/

/* USER CODE END 4 */

void Error_Handler(void)
{
  /* USER CODE BEGIN Error_Handler_Debug */
	/* User can add his own implementation to report the HAL error return state */
	printf("Error Handler\r\n");
  /* USER CODE END Error_Handler_Debug */
}

/************************ (C) COPYRIGHT STMicroelectronics *****END OF FILE****/
